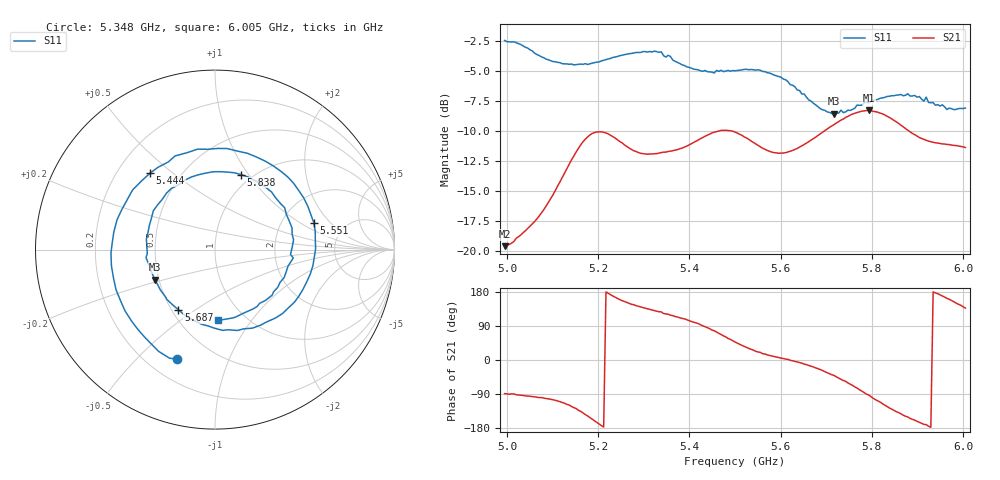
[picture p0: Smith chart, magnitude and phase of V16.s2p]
!File created by NanoVNA
# Hz S RI R 50
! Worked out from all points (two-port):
!   201 points, 4.995 GHz to 6.005 GHz, reference 50 ohm
!   highest |S21| = -8.27 dB at 5.793 GHz (marker M1); lowest = -19.6 dB at 4.995 GHz (marker M2)
!   |S21| within 3 dB of the highest: 5.393 GHz to 5.553 GHz (160.2 MHz wide, 2.93 % of centre); 5.645 GHz to 5.994 GHz (349.7 MHz wide, 6.01 % of centre)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
!   lowest |S11| = -8.5 dB at 5.717 GHz (marker M3), VSWR 2.19, Z = 23.8 - j9.22 ohm
!   |S11| at or under -10 dB: nowhere
!   S12 and S22 are empty: the file has one direction only
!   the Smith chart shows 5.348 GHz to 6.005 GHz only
!   S11 on the Smith chart (normalised r, x): 5.348 GHz: 0.32, -0.66; 5.444 GHz: 0.34, +0.42; 5.551 GHz: 3.01, +1.33; 5.687 GHz: 0.54, -0.43; 5.838 GHz: 0.89, +0.92; 6.005 GHz: 0.76, -0.71
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4.995e9  0.22 -0.7241  0.00232 -0.1044  0 0  0 0
5.03035e9  -0.3108 -0.6589  -0.00587 -0.1161  0 0  0 0
5.0758e9  -0.641 -0.0841  -0.0231 -0.1421  0 0  0 0
5.1263e9  -0.3486 0.4933  -0.0861 -0.1927  0 0  0 0
5.1667e9  0.1134 0.5904  -0.2174 -0.1844  0 0  0 0
5.2172e9  0.5531 0.3015  -0.3104 0.00197  0 0  0 0
5.2576e9  0.6506 -0.1114  -0.2499 0.1197  0 0  0 0
5.298e9  0.4398 -0.5181  -0.1898 0.1694  0 0  0 0
5.33335e9  0.0144 -0.6752  -0.1551 0.2036  0 0  0 0
5.3485e9  -0.2145 -0.6081  -0.1351 0.22  0 0  0 0
5.399e9  -0.5771 -0.0903  -0.0668 0.2683  0 0  0 0
5.44445e9  -0.3608 0.427  0.0387 0.3045  0 0  0 0
5.5e9  0.2265 0.5179  0.2112 0.2311  0 0  0 0
5.5505e9  0.5508 0.1488  0.2566 0.0994  0 0  0 0
5.6212e9  0.2835 -0.4051  0.2601 -0.00329  0 0  0 0
5.6717e9  -0.1069 -0.3996  0.279 -0.092  0 0  0 0
5.68685e9  -0.2043 -0.3354  0.2782 -0.1318  0 0  0 0
5.71715e9  -0.3346 -0.1668  0.2547 -0.2202  0 0  0 0
5.7929e9  -0.2017 0.3621  -0.0148 -0.3855  0 0  0 0
5.83835e9  0.1434 0.4183  -0.2142 -0.29  0 0  0 0
5.91915e9  0.436 -0.0468  -0.2854 -0.0471  0 0  0 0
6.005e9  0.0194 -0.3943  -0.1973 0.1841  0 0  0 0
